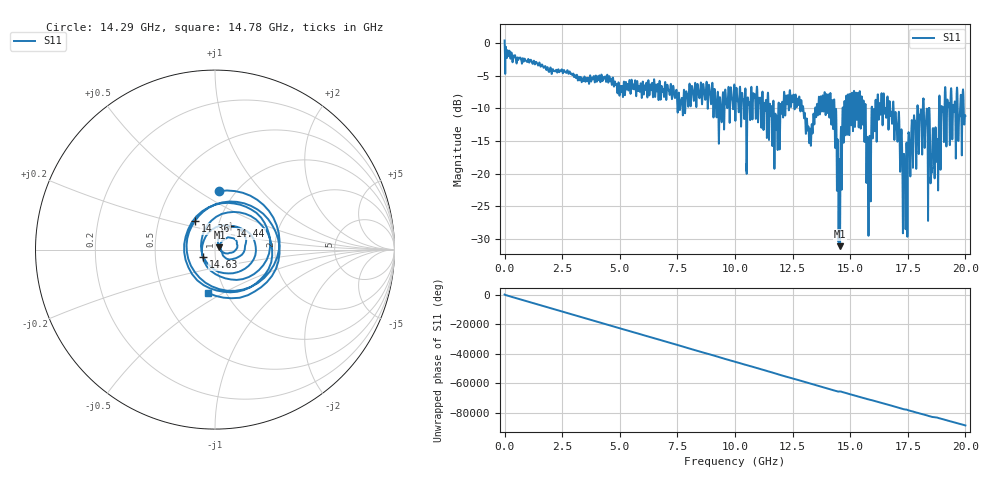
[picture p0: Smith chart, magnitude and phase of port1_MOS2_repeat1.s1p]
! MS46122B
! 2250307/22442219
! 7/28/2025 2:07:30 PM
! C:\USERS\SPARKY\DOCUMENTS\VNA_DATA\JULY28_2025\3K\PORT1_MOS2_REPEAT1.S1P
! CHANNEL.1
! TR.MEASUREMENT
! RAW.DATA
# GHZ S RI R 50.0
! FREQ.GHZ  S11RE  S11IM
!; PortSelection: Port_1
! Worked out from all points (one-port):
!   10001 points, 1 MHz to 20 GHz, reference 50 ohm
!   lowest |S11| = -31.1 dB at 14.56 GHz (marker M1), VSWR 1.06, Z = 52.5 + j1.33 ohm
!   |S11| at or under -10 dB: 12.97 GHz to 13.48 GHz (511 MHz wide, 3.86 % of centre); 16.89 GHz to 17.91 GHz (1.026 GHz wide, 5.9 % of centre); 18.43 GHz to 18.85 GHz (415.2 MHz wide, 2.23 % of centre) (the widest 3 of 86)
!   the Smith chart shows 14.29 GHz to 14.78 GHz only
!   S11 on the Smith chart (normalised r, x): 14.29 GHz: 0.84, +0.61; 14.36 GHz: 0.76, +0.25; 14.44 GHz: 1.14, +0.31; 14.63 GHz: 0.88, -0.07; 14.78 GHz: 0.83, -0.43
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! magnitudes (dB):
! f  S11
! 1 MHz  0.4
! 2.501 GHz  -4.2
! 5.001 GHz  -7.6
! 7.501 GHz  -10.2
! 10 GHz  -9.2
! 10.88 GHz  -8.7
! 11.78 GHz  -13.3
! 12.5 GHz  -9.0
! 13.23 GHz  -14.9
! 13.81 GHz  -8.0
! 14.29 GHz  -9.7
! 14.36 GHz  -14.2
! 14.44 GHz  -16.1
! 14.56 GHz  -31.1
! 14.63 GHz  -22.3
! 14.78 GHz  -12.2
! 15 GHz  -7.8
! 15.58 GHz  -8.8
! 15.8 GHz  -25.5
! 16.02 GHz  -10.3
! 16.28 GHz  -9.2
! 17.04 GHz  -14.5
! 17.38 GHz  -20.6
! 17.5 GHz  -18.3
! 18.11 GHz  -13.2
! 18.58 GHz  -14.5
! 19.05 GHz  -11.7
! 20 GHz  -11.2
